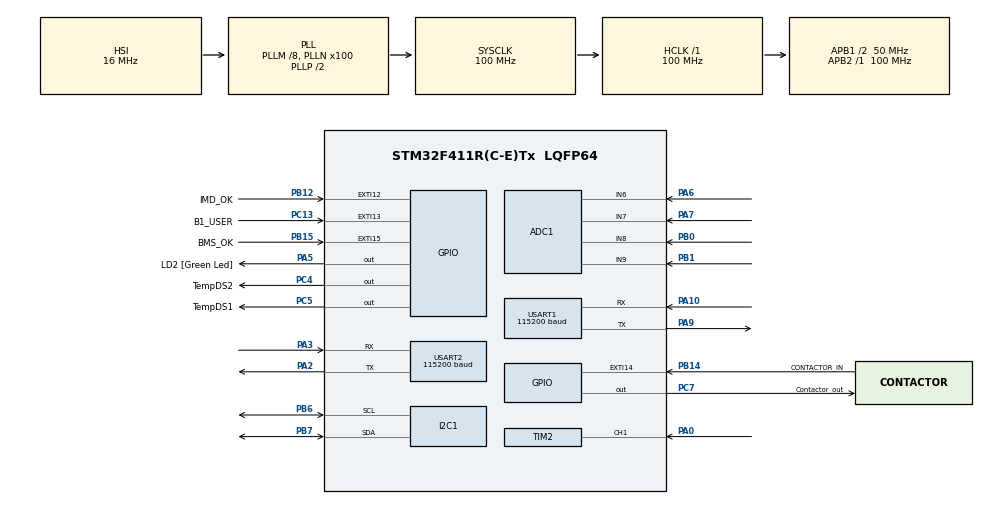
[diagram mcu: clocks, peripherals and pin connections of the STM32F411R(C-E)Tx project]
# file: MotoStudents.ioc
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ADC1.Channel-0\#ChannelRegularConversion=ADC_CHANNEL_6
ADC1.Channel-1\#ChannelRegularConversion=ADC_CHANNEL_7
ADC1.Channel-2\#ChannelRegularConversion=ADC_CHANNEL_8
ADC1.Channel-3\#ChannelRegularConversion=ADC_CHANNEL_9
ADC1.Channel-4\#ChannelRegularConversion=ADC_CHANNEL_TEMPSENSOR
ADC1.ContinuousConvMode=DISABLE
ADC1.DMAContinuousRequests=DISABLE
ADC1.DiscontinuousConvMode=DISABLE
ADC1.NbrOfConversion=5
ADC1.NbrOfConversionFlag=1
ADC1.Rank-0\#ChannelRegularConversion=1
ADC1.Rank-1\#ChannelRegularConversion=2
ADC1.Rank-2\#ChannelRegularConversion=3
ADC1.Rank-3\#ChannelRegularConversion=4
ADC1.Rank-4\#ChannelRegularConversion=5
ADC1.SamplingTime-0\#ChannelRegularConversion=ADC_SAMPLETIME_84CYCLES
ADC1.SamplingTime-1\#ChannelRegularConversion=ADC_SAMPLETIME_84CYCLES
ADC1.SamplingTime-2\#ChannelRegularConversion=ADC_SAMPLETIME_84CYCLES
ADC1.SamplingTime-3\#ChannelRegularConversion=ADC_SAMPLETIME_84CYCLES
ADC1.SamplingTime-4\#ChannelRegularConversion=ADC_SAMPLETIME_480CYCLES
ADC1.ScanConvMode=ENABLE
ADC1.master=1
Dma.ADC1.0.Direction=DMA_PERIPH_TO_MEMORY
Dma.ADC1.0.FIFOMode=DMA_FIFOMODE_DISABLE
Dma.ADC1.0.Instance=DMA2_Stream0
Dma.ADC1.0.MemDataAlignment=DMA_MDATAALIGN_HALFWORD
Dma.ADC1.0.MemInc=DMA_MINC_ENABLE
Dma.ADC1.0.Mode=DMA_NORMAL
Dma.ADC1.0.PeriphDataAlignment=DMA_PDATAALIGN_HALFWORD
Dma.ADC1.0.PeriphInc=DMA_PINC_DISABLE
Dma.ADC1.0.Priority=DMA_PRIORITY_LOW
Dma.Request0=ADC1
Dma.Request1=USART2_RX
Dma.Request2=USART1_RX
Dma.USART1_RX.2.Direction=DMA_PERIPH_TO_MEMORY
Dma.USART1_RX.2.FIFOMode=DMA_FIFOMODE_DISABLE
Dma.USART1_RX.2.Instance=DMA2_Stream2
Dma.USART1_RX.2.MemDataAlignment=DMA_MDATAALIGN_BYTE
Dma.USART1_RX.2.MemInc=DMA_MINC_ENABLE
Dma.USART1_RX.2.Mode=DMA_CIRCULAR
Dma.USART1_RX.2.PeriphDataAlignment=DMA_PDATAALIGN_BYTE
Dma.USART1_RX.2.PeriphInc=DMA_PINC_DISABLE
Dma.USART1_RX.2.Priority=DMA_PRIORITY_LOW
Dma.USART2_RX.1.Direction=DMA_PERIPH_TO_MEMORY
Dma.USART2_RX.1.FIFOMode=DMA_FIFOMODE_DISABLE
Dma.USART2_RX.1.Instance=DMA1_Stream5
Dma.USART2_RX.1.MemDataAlignment=DMA_MDATAALIGN_BYTE
Dma.USART2_RX.1.MemInc=DMA_MINC_ENABLE
Dma.USART2_RX.1.Mode=DMA_CIRCULAR
Dma.USART2_RX.1.PeriphDataAlignment=DMA_PDATAALIGN_BYTE
Dma.USART2_RX.1.PeriphInc=DMA_PINC_DISABLE
Dma.USART2_RX.1.Priority=DMA_PRIORITY_LOW
IWDG.Prescaler=IWDG_PRESCALER_8
IWDG.Reload=3999
Mcu.Family=STM32F4
Mcu.Name=STM32F411R(C-E)Tx
Mcu.Package=LQFP64
NVIC.DMA1_Stream5_IRQn=true\:0\:0\:false\:false\:true\:false\:true
NVIC.DMA2_Stream0_IRQn=true\:0\:0\:false\:false\:true\:false\:true
NVIC.DMA2_Stream2_IRQn=true\:0\:0\:false\:false\:true\:false\:true
NVIC.EXTI15_10_IRQn=true\:1\:0\:true\:false\:true\:true\:true
NVIC.PriorityGroup=NVIC_PRIORITYGROUP_2
NVIC.TIM1_TRG_COM_TIM11_IRQn=true\:3\:0\:true\:false\:true\:true\:true
NVIC.TIM2_IRQn=true\:2\:3\:true\:false\:true\:true\:true
NVIC.USART1_IRQn=true\:2\:0\:true\:false\:true\:true\:true
NVIC.USART2_IRQn=true\:2\:0\:true\:false\:true\:true\:true
PA0-WKUP.Signal=S_TIM2_CH1_ETR
PA10.Mode=Asynchronous
PA10.Signal=USART1_RX
PA13.GPIO_Label=TMS
PA13.Mode=Serial_Wire
PA13.Signal=SYS_JTMS-SWDIO
PA14.GPIO_Label=TCK
PA14.Mode=Serial_Wire
PA14.Signal=SYS_JTCK-SWCLK
PA2.Mode=Asynchronous
PA2.Signal=USART2_TX
PA3.Mode=Asynchronous
PA3.Signal=USART2_RX
PA5.GPIO_Label=LD2 [Green Led]
PA5.Signal=GPIO_Output
PA6.Signal=ADCx_IN6
PA7.Signal=ADCx_IN7
PA9.Mode=Asynchronous
PA9.Signal=USART1_TX
PB0.Signal=ADCx_IN8
PB1.Signal=ADCx_IN9
PB12.GPIO_Label=IMD_OK
PB12.GPIO_ModeDefaultEXTI=GPIO_MODE_IT_RISING_FALLING
PB12.GPIO_PuPd=GPIO_PULLDOWN
PB12.Signal=GPXTI12
PB14.GPIO_Label=CONTACTOR_IN
PB14.GPIO_ModeDefaultEXTI=GPIO_MODE_IT_RISING_FALLING
PB14.GPIO_PuPd=GPIO_PULLDOWN
PB14.Signal=GPXTI14
PB15.GPIO_Label=BMS_OK
PB15.GPIO_ModeDefaultEXTI=GPIO_MODE_IT_RISING_FALLING
PB15.GPIO_PuPd=GPIO_PULLDOWN
PB15.Signal=GPXTI15
PB3.GPIO_Label=SWO
PB3.Signal=SYS_JTDO-SWO
PB6.Mode=I2C
PB6.Signal=I2C1_SCL
PB7.Mode=I2C
PB7.Signal=I2C1_SDA
PC13-ANTI_TAMP.GPIO_Label=B1_USER
PC13-ANTI_TAMP.Signal=GPXTI13
PC14-OSC32_IN.Mode=LSE-External-Oscillator
PC14-OSC32_IN.Signal=RCC_OSC32_IN
PC15-OSC32_OUT.Mode=LSE-External-Oscillator
PC15-OSC32_OUT.Signal=RCC_OSC32_OUT
PC4.GPIO_Label=TempDS2
PC4.GPIO_ModeDefaultOutputPP=GPIO_MODE_OUTPUT_OD
PC4.GPIO_PuPd=GPIO_PULLUP
PC4.GPIO_Speed=GPIO_SPEED_FREQ_HIGH
PC4.Signal=GPIO_Output
PC5.GPIO_Label=TempDS1
PC5.GPIO_ModeDefaultOutputPP=GPIO_MODE_OUTPUT_OD
PC5.GPIO_PuPd=GPIO_PULLUP
PC5.GPIO_Speed=GPIO_SPEED_FREQ_VERY_HIGH
PC5.Signal=GPIO_Output
PC7.GPIO_Label=Contactor_out
PC7.GPIO_PuPd=GPIO_PULLDOWN
PC7.Signal=GPIO_Output
PH0\ -\ OSC_IN.Mode=HSE-External-Clock-Source
PH0\ -\ OSC_IN.Signal=RCC_OSC_IN
PH1\ -\ OSC_OUT.Mode=HSE-External-Clock-Source
PH1\ -\ OSC_OUT.Signal=RCC_OSC_OUT
ProjectManager.HeapSize=0x200
ProjectManager.StackSize=0x400
ProjectManager.TargetToolchain=STM32CubeIDE
RCC.48MHZClocksFreq_Value=50000000
RCC.AHBFreq_Value=100000000
RCC.APB1CLKDivider=RCC_HCLK_DIV2
RCC.APB1Freq_Value=50000000
RCC.APB1TimFreq_Value=100000000
RCC.APB2Freq_Value=100000000
RCC.APB2TimFreq_Value=100000000
RCC.CortexFreq_Value=100000000
RCC.FLatency-AdvancedSettings=FLASH_LATENCY_3
RCC.HCLKFreq_Value=100000000
RCC.HSE_VALUE=8000000
RCC.HSI_VALUE=16000000
RCC.PLLM=8
RCC.PLLN=100
RCC.RCC_RTC_Clock_Source=RCC_RTCCLKSOURCE_LSI
RCC.RCC_RTC_Clock_SourceVirtual=RCC_RTCCLKSOURCE_LSI
RCC.SYSCLKFreq_VALUE=100000000
RCC.SYSCLKSource=RCC_SYSCLKSOURCE_PLLCLK
RCC.VCOOutputFreq_Value=200000000
SH.ADCx_IN6.0=ADC1_IN6,IN6
SH.ADCx_IN7.0=ADC1_IN7,IN7
SH.ADCx_IN8.0=ADC1_IN8,IN8
SH.ADCx_IN9.0=ADC1_IN9,IN9
SH.S_TIM2_CH1_ETR.0=TIM2_CH1,PWM_Input_1
TIM10.Period=65535-1
TIM10.Prescaler=1-1
TIM11.Period=300-1
TIM11.Prescaler=10000-1
TIM2.Prescaler=0
TIM9.Prescaler=50000-1
USART1.BaudRate=115200
USART1.VirtualMode=VM_ASYNC
USART2.BaudRate=115200
USART2.VirtualMode=VM_ASYNC
VP_ADC1_TempSens_Input.Mode=IN-TempSens
VP_IWDG_VS_IWDG.Mode=IWDG_Activate
VP_TIM10_VS_ClockSourceINT.Mode=Enable_Timer
VP_TIM11_VS_ClockSourceINT.Mode=Enable_Timer
VP_TIM2_VS_ClockSourceINT.Mode=Internal
VP_TIM9_VS_ClockSourceINT.Mode=Internal
board=NUCLEO-F411RE

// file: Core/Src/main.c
/* USER CODE BEGIN Header */
/**
  ******************************************************************************
  * @file           : main.c
  * @brief          : Main program body
  ******************************************************************************
  * @attention
  *
  * <h2><center>&copy; Copyright (c) 2021 STMicroelectronics.
  * All rights reserved.</center></h2>
  *
  * This software component is licensed by ST under BSD 3-Clause license,
  * the "License"; You may not use this file except in compliance with the
  * License. You may obtain a copy of the License at:
  *                        opensource.org/licenses/BSD-3-Clause
  *
  ******************************************************************************
  */

/*
 * **********************************************************************************
 *
 *  Created on: 	00.00.0000
 *  Author: 		Rubén Torres Bermúdez <rubentorresbermudez@gmail.com>
 *  Organism:		Sevilla Racing. Universidad de Sevilla.
 *
 *	Description:
 *		This C source file provides the Sevilla Racing STM32F4x project to be included
 *		into a electric racing bike for MotoStudent International Competition.
 *		Sevilla Racing is representing the motorcycle team of Universidad de Sevilla.
 *
 *		MPU6050 library's credits belongs to its respective owner.
 *
 *		Copyright (C) 2022 Rubén Torres Bermúdez
 *
 * **********************************************************************************
 */

/* USER CODE END Header */
#include "main.h"

/* USER CODE BEGIN Includes */
#include "string.h"
#include "stdio.h"
#include "math.h"
#include "RT_ds18b20.h"
#include "mpu6050.h"

/* USER CODE END Includes */

/* USER CODE BEGIN PD */

//++++++++++++++++++++++++++++ ANALOG TO DIGITAL CONVERTER ++++++++++++++++++++++++++++
#define Avg_Slope .0025
#define V25 0.76

/* USER CODE END PD */

ADC_HandleTypeDef hadc1;
DMA_HandleTypeDef hdma_adc1;

I2C_HandleTypeDef hi2c1;

IWDG_HandleTypeDef hiwdg;

TIM_HandleTypeDef htim2;
TIM_HandleTypeDef htim9;
TIM_HandleTypeDef htim10;
TIM_HandleTypeDef htim11;

UART_HandleTypeDef huart1;
UART_HandleTypeDef huart2;
DMA_HandleTypeDef hdma_usart1_rx;
DMA_HandleTypeDef hdma_usart2_rx;

/* USER CODE BEGIN PV */

//++++++++++++++++++++++++++++ MPU6050 ++++++++++++++++++++++++++++
MPU6050_t MPU6050; //Structure type MPU6050_t name MPU6050

//++++++++++++++++++++++++++++ DS18B20 ++++++++++++++++++++++++++++
volatile uint8_t pin_1wire = 0;
typedef struct
{
	float Pack1;
	float Pack2;
	float Pack3;
	float Pack4;
}DS18B20_t;
DS18B20_t Temp;
uint8_t dir1[] = {0x28,0xB4,0x0C,0x94,0x97,0x0C,0x03,0xF6};

//++++++++++++++++++++++++++++ ANALOG TO DIGITAL CONVERTER ++++++++++++++++++++++++++++
typedef struct
{
	uint32_t Channel1;
	uint32_t Channel2;
	uint32_t Channel3;
	uint32_t Channel4;
	float Temp_uC;
} ADC_value_t;
ADC_value_t ADC1_value;

//++++++++++++++++++++++++++++ PWM MEASURE ++++++++++++++++++++++++++++
typedef struct
{
	uint32_t preICValue;
	uint32_t ICValue;
	uint32_t Frequency;
	float Duty;
	float Rf;
} PWM_measure_t;
PWM_measure_t IMD;

//++++++++++++++++++++++++++++ OTHERS VAR ++++++++++++++++++++++++++++
uint8_t flag_TIM11 = 0;
uint8_t dataRx [8] = {0};
uint8_t flag_app = 0;
typedef struct
{
	uint8_t DS18B20;
	uint8_t MPU6050;
	uint8_t IMD;
	uint8_t BMS;
	uint8_t Contactor;
} flag_Errors_t;
flag_Errors_t flag_error;

/* USER CODE END PV */

void SystemClock_Config(void);
static void MX_GPIO_Init(void);
static void MX_I2C1_Init(void);
static void MX_IWDG_Init(void);
static void MX_ADC1_Init(void);
static void MX_TIM11_Init(void);
static void MX_DMA_Init(void);
static void MX_USART2_UART_Init(void);
static void MX_TIM10_Init(void);
static void MX_TIM2_Init(void);
static void MX_USART1_UART_Init(void);
static void MX_TIM9_Init(void);
/* USER CODE BEGIN PFP */

void delayMicro (uint32_t delay);
uint64_t millis(void);
void read_AllTemp (void);
void read_ADC1 (void);
uint8_t info_user_transmit (void);
uint8_t info_app_transmit (void);
void reset_flags ();

/* USER CODE END PFP */

/* USER CODE BEGIN 0 */

//################################## MPU6050 ##################################

//################################## DELAY MICROSECONDS ##################################
/**
 * @brief	Delay us.
 * @param 	Delay in microseconds.
 * @return  None.
 * @note 	Sólo cuenta hasta 65535/f microsegundos. Siendo f la frecuencia en MHz.
 * 		 	Asegurarse de inicializar  HAL_TIM_Base_Start(&htim).
 * 		 	Modificar la frecuencia del timer en MHz (pasado por prescaler).
 */
void delayMicro (uint32_t delay)
{
#define RT_FREQUENCY_delayMicro 100
	__HAL_TIM_SET_COUNTER(&htim10, 0);
	while (__HAL_TIM_GET_COUNTER(&htim10)<(delay*RT_FREQUENCY_delayMicro));
}

//################################## MILLIS FUNCTION ##################################
/**
  * @brief	millis().
  * @param 	None.
  * @return Time elapse since timer init or set counter.
  * @note 	Sólo cuenta hasta 65535/f microsegundos. Siendo f la frecuencia en MHz.
  * 		 	Asegurarse de inicializar  HAL_TIM_Base_Start(&htim).
  * 		 	Modificar la frecuencia del timer en KHz (pasado por prescaler).
  */
uint64_t millis(void)
{
#define RT_FREQUENCY_millis 2
    return (__HAL_TIM_GET_COUNTER(&htim9)/RT_FREQUENCY_millis);
}

//################################## DS18B20 ##################################
/**
  * @brief	Read all values of DS18B20 sensor temperature.
  * @param 	None
  * @return None.
  */
void read_AllTemp (void)
{
	if (!DS18B20_All_Convert(TempDS1_GPIO_Port, TempDS1_Pin))
	{
		Temp.Pack1 = DS18B20_Read_Temp(TempDS1_GPIO_Port, TempDS1_Pin, dir1);
	//	Temp.Pack3 = DS18B20_Read_Temp(TempDS1_GPIO_Port, TempDS1_Pin, dir1);
	//	Temp.Pack2 = DS18B20_Read_Temp(TempDS1_GPIO_Port, TempDS1_Pin, dir1);
	//	Temp.Pack4 = DS18B20_Read_Temp(TempDS1_GPIO_Port, TempDS1_Pin, dir1);
		if ((Temp.Pack1 == -250.0) | (Temp.Pack2 == -250.0) | (Temp.Pack3 == -250.0) | (Temp.Pack4 == -250.0))
		{
			flag_error.DS18B20 = 1;
		}

	}
		else	flag_error.DS18B20 = 1;
}

//################################## ANALOG TO DIGITAL CONVERTER ##################################
/**
  * @brief	Read all values of ADC1.
  * @param 	None
  * @return None.
  */
void read_ADC1 (void)
{
	HAL_ADC_Start(&hadc1);// start the ADC

	HAL_ADC_PollForConversion(&hadc1, 1);
	ADC1_value.Channel1 = HAL_ADC_GetValue(&hadc1);
	HAL_ADC_PollForConversion(&hadc1, 1);
	ADC1_value.Channel2 = HAL_ADC_GetValue(&hadc1);
	HAL_ADC_PollForConversion(&hadc1, 1);
	ADC1_value.Channel3 = HAL_ADC_GetValue(&hadc1);
	HAL_ADC_PollForConversion(&hadc1, 1);
	ADC1_value.Channel4 = HAL_ADC_GetValue(&hadc1);
	HAL_ADC_PollForConversion(&hadc1, 1);
	ADC1_value.Temp_uC = ((3.3*HAL_ADC_GetValue(&hadc1)/4095 - V25)/Avg_Slope)+25;

	HAL_ADC_Stop(&hadc1); // stop the adc
}

//################################## SEND INFO UART2 ##################################
/**
  * @brief	Sends info to UART.
  * @param 	None.
  * @return Return 1 when transmission is completed.
  */
uint8_t info_user_transmit (void)
{
	char buffer[400] = {0};
	sprintf
	(
			buffer,
			"#########   INICIO ENVIO DE DATOS   #########\r\n\nIMD: \r\n- Frecuencia: %lu\r\n- Duty: %.1f\r\n\nGiroscopio: \r\nAx\tAy\tAz\tGx\tGy\tGz\r\n%.2f\t%.2f\t%.2f\t%.2f\t%.2f\r\n\nTemperaturas: \r\n- Temp. Pack1: %.1f\r\n- Temp. Pack2: %.1f\r\n\nValores ADC: \r\n- Canal 1: %lu\r\n- Canal 2: %lu\r\n- Canal 3: %lu\r\n- Canal 4: %lu\r\n- Temp. uC: %.1f\r\n\n#########   FIN ENVIO DE DATOS   #########\r\n\n\n",
			IMD.Frequency, IMD.Duty, MPU6050.Ax, MPU6050.Ay, MPU6050.Az, MPU6050.KalmanAngleX,
			MPU6050.KalmanAngleY, Temp.Pack1, Temp.Pack2, ADC1_value.Channel1, ADC1_value.Channel2, ADC1_value.Channel3,
			ADC1_value.Channel4, ADC1_value.Temp_uC
	);

	HAL_UART_Transmit(&huart2, buffer, strlen(buffer), 10);
	return 1;
}

/**
  * @brief	Sends info to app via UART.
  * @param 	None.
  * @return Return 1 when transmission is completed.
  */
uint8_t info_app_transmit (void)
{
	char buffer[100] = {0};
	sprintf
	(
			buffer,
			"+++++\r\n%lu\r\n%.1f\r\n%.2f\r\n%.2f\r\n%.2f\r\n%.2f\r\n%.2f\r\n%.1f\r\n%.1f\r\n%lu\r\n%lu\r\n%lu\r\n%lu\r\n%.1f\r\n*****\r\n",
			IMD.Frequency, IMD.Duty, MPU6050.Ax, MPU6050.Ay, MPU6050.Az, MPU6050.KalmanAngleX,
			MPU6050.KalmanAngleY, Temp.Pack1, Temp.Pack2, ADC1_value.Channel1, ADC1_value.Channel2, ADC1_value.Channel3,
			ADC1_value.Channel4, ADC1_value.Temp_uC
	);

	HAL_UART_Transmit(&huart2, buffer, strlen(buffer), 10);
	return 1;
}

/**
  * @brief	Restart stored flag errors.
  * @param	None.
  * @return None.
  */
void reset_flags ()
{
	flag_error = (flag_Errors_t){0};
}

/* USER CODE END 0 */

int main(void)
{

  /* MCU Configuration--------------------------------------------------------*/

  /* Reset of all peripherals, Initializes the Flash interface and the Systick. */
  HAL_Init();

  /* Configure the system clock */
  SystemClock_Config();

  /* Initialize all configured peripherals */
  MX_GPIO_Init();
  MX_I2C1_Init();
  MX_IWDG_Init();
  MX_ADC1_Init();
  MX_TIM11_Init();
  MX_DMA_Init();
  MX_USART2_UART_Init();
  MX_TIM10_Init();
  MX_TIM2_Init();
  MX_USART1_UART_Init();
  MX_TIM9_Init();
  /* USER CODE BEGIN 2 */

  //################################## INITIAL CHECKS ##################################

    HAL_Delay(500);
    HAL_IWDG_Refresh(&hiwdg);
    HAL_Delay(500);
    HAL_IWDG_Refresh(&hiwdg);
    HAL_Delay(500);
    HAL_IWDG_Refresh(&hiwdg);
    HAL_Delay(500);
    HAL_IWDG_Refresh(&hiwdg);
    HAL_Delay(500);
    HAL_IWDG_Refresh(&hiwdg);

    if (HAL_GPIO_ReadPin(IMD_OK_GPIO_Port, IMD_OK_Pin) == GPIO_PIN_RESET)
    {
  	  HAL_GPIO_WritePin(Contactor_out_GPIO_Port, Contactor_out_Pin, GPIO_PIN_RESET);
  	  flag_error.IMD = 1;
    }

    if (HAL_GPIO_ReadPin(BMS_OK_GPIO_Port, BMS_OK_Pin) == GPIO_PIN_RESET)
    {
  	  flag_error.BMS = 1;
    }

    if (HAL_GPIO_ReadPin(CONTACTOR_IN_GPIO_Port, CONTACTOR_IN_Pin) == GPIO_PIN_RESET)
    {
  	  flag_error.Contactor = 1;
    }

    //################################## SETUP PERIPHERIALS ##################################

  for (uint8_t a = 1; a<5; a++)
  {
	  HAL_GPIO_TogglePin(LD2_GPIO_Port, LD2_Pin);
	  HAL_Delay(300);
	  HAL_IWDG_Refresh(&hiwdg);
  }

  HAL_IWDG_Refresh(&hiwdg);

  HAL_TIM_Base_Start (&htim10);		//delayMicro ()

  HAL_TIM_Base_Start (&htim9);			//millis()

  	  if (!MPU6050_Init (&hi2c1))			//MPU6050 Incialización
  		  HAL_UART_Transmit(&huart2, (uint8_t *) "MPU6050 inicializada\r\n", strlen ("MPU6050 inicializada\r\n"), 1);
  	  else
  	  {
  		  HAL_UART_Transmit(&huart2, (uint8_t *) "MPU6050 fallo\r\n", strlen ("MPU6050 fallo\r\n"), 1);
  		  flag_error.MPU6050 = 1;
  	  }

  HAL_TIM_IC_Start_IT(&htim2, TIM_CHANNEL_1);	//Medidor de PWM
  HAL_TIM_IC_Start(&htim2, TIM_CHANNEL_2);

  HAL_UART_Receive_DMA(&huart2, dataRx, 1);		//Recepción de comandos
  HAL_UART_Receive_DMA(&huart1, dataRx, 1);		//Orden App

  HAL_UART_Transmit(&huart2, (uint8_t *) "#########   INICIALIZADO   #########\r\n\n\n", strlen ((char *) "#########   INICIALIZADO   #########\r\n\n\n"), 3);
  HAL_TIM_Base_Start_IT(&htim11);		//Interrupciones Internas
  HAL_GPIO_WritePin(LD2_GPIO_Port, LD2_Pin, 1);

  /* USER CODE END 2 */

  /* Infinite loop */
  /* USER CODE BEGIN WHILE */

  while (1)
  {
	  HAL_GPIO_TogglePin(LD2_GPIO_Port, LD2_Pin);
	  for (uint16_t i = 0; i < 500; i++)	//Delay con micros
		  delayMicro (100);	//Delay 100us

    /* USER CODE END WHILE */

  }
}

void SystemClock_Config(void)
{
  RCC_OscInitTypeDef RCC_OscInitStruct = {0};
  RCC_ClkInitTypeDef RCC_ClkInitStruct = {0};

  /** Configure the main internal regulator output voltage
  */
  __HAL_RCC_PWR_CLK_ENABLE();
  __HAL_PWR_VOLTAGESCALING_CONFIG(PWR_REGULATOR_VOLTAGE_SCALE1);
  /** Initializes the RCC Oscillators according to the specified parameters
  * in the RCC_OscInitTypeDef structure.
  */
  RCC_OscInitStruct.OscillatorType = RCC_OSCILLATORTYPE_HSI|RCC_OSCILLATORTYPE_LSI;
  RCC_OscInitStruct.HSIState = RCC_HSI_ON;
  RCC_OscInitStruct.HSICalibrationValue = RCC_HSICALIBRATION_DEFAULT;
  RCC_OscInitStruct.LSIState = RCC_LSI_ON;
  RCC_OscInitStruct.PLL.PLLState = RCC_PLL_ON;
  RCC_OscInitStruct.PLL.PLLSource = RCC_PLLSOURCE_HSI;
  RCC_OscInitStruct.PLL.PLLM = 8;
  RCC_OscInitStruct.PLL.PLLN = 100;
  RCC_OscInitStruct.PLL.PLLP = RCC_PLLP_DIV2;
  RCC_OscInitStruct.PLL.PLLQ = 4;
  if (HAL_RCC_OscConfig(&RCC_OscInitStruct) != HAL_OK)
  {
    Error_Handler();
  }
  /** Initializes the CPU, AHB and APB buses clocks
  */
  RCC_ClkInitStruct.ClockType = RCC_CLOCKTYPE_HCLK|RCC_CLOCKTYPE_SYSCLK
                              |RCC_CLOCKTYPE_PCLK1|RCC_CLOCKTYPE_PCLK2;
  RCC_ClkInitStruct.SYSCLKSource = RCC_SYSCLKSOURCE_PLLCLK;
  RCC_ClkInitStruct.AHBCLKDivider = RCC_SYSCLK_DIV1;
  RCC_ClkInitStruct.APB1CLKDivider = RCC_HCLK_DIV2;
  RCC_ClkInitStruct.APB2CLKDivider = RCC_HCLK_DIV1;

  if (HAL_RCC_ClockConfig(&RCC_ClkInitStruct, FLASH_LATENCY_3) != HAL_OK)
  {
    Error_Handler();
  }
}

static void MX_ADC1_Init(void)
{

  ADC_ChannelConfTypeDef sConfig = {0};

  /** Configure the global features of the ADC (Clock, Resolution, Data Alignment and number of conversion)
  */
  hadc1.Instance = ADC1;
  hadc1.Init.ClockPrescaler = ADC_CLOCK_SYNC_PCLK_DIV4;
  hadc1.Init.Resolution = ADC_RESOLUTION_12B;
  hadc1.Init.ScanConvMode = ENABLE;
  hadc1.Init.ContinuousConvMode = DISABLE;
  hadc1.Init.DiscontinuousConvMode = DISABLE;
  hadc1.Init.ExternalTrigConvEdge = ADC_EXTERNALTRIGCONVEDGE_NONE;
  hadc1.Init.ExternalTrigConv = ADC_SOFTWARE_START;
  hadc1.Init.DataAlign = ADC_DATAALIGN_RIGHT;
  hadc1.Init.NbrOfConversion = 5;
  hadc1.Init.DMAContinuousRequests = DISABLE;
  hadc1.Init.EOCSelection = ADC_EOC_SINGLE_CONV;
  if (HAL_ADC_Init(&hadc1) != HAL_OK)
  {
    Error_Handler();
  }
  /** Configure for the selected ADC regular channel its corresponding rank in the sequencer and its sample time.
  */
  sConfig.Channel = ADC_CHANNEL_6;
  sConfig.Rank = 1;
  sConfig.SamplingTime = ADC_SAMPLETIME_84CYCLES;
  if (HAL_ADC_ConfigChannel(&hadc1, &sConfig) != HAL_OK)
  {
    Error_Handler();
  }
  /** Configure for the selected ADC regular channel its corresponding rank in the sequencer and its sample time.
  */
  sConfig.Channel = ADC_CHANNEL_7;
  sConfig.Rank = 2;
  if (HAL_ADC_ConfigChannel(&hadc1, &sConfig) != HAL_OK)
  {
    Error_Handler();
  }
  /** Configure for the selected ADC regular channel its corresponding rank in the sequencer and its sample time.
  */
  sConfig.Channel = ADC_CHANNEL_8;
  sConfig.Rank = 3;
  if (HAL_ADC_ConfigChannel(&hadc1, &sConfig) != HAL_OK)
  {
    Error_Handler();
  }
  /** Configure for the selected ADC regular channel its corresponding rank in the sequencer and its sample time.
  */
  sConfig.Channel = ADC_CHANNEL_9;
  sConfig.Rank = 4;
  if (HAL_ADC_ConfigChannel(&hadc1, &sConfig) != HAL_OK)
  {
    Error_Handler();
  }
  /** Configure for the selected ADC regular channel its corresponding rank in the sequencer and its sample time.
  */
  sConfig.Channel = ADC_CHANNEL_TEMPSENSOR;
  sConfig.Rank = 5;
  sConfig.SamplingTime = ADC_SAMPLETIME_480CYCLES;
  if (HAL_ADC_ConfigChannel(&hadc1, &sConfig) != HAL_OK)
  {
    Error_Handler();
  }

}

static void MX_I2C1_Init(void)
{

  hi2c1.Instance = I2C1;
  hi2c1.Init.ClockSpeed = 100000;
  hi2c1.Init.DutyCycle = I2C_DUTYCYCLE_2;
  hi2c1.Init.OwnAddress1 = 0;
  hi2c1.Init.AddressingMode = I2C_ADDRESSINGMODE_7BIT;
  hi2c1.Init.DualAddressMode = I2C_DUALADDRESS_DISABLE;
  hi2c1.Init.OwnAddress2 = 0;
  hi2c1.Init.GeneralCallMode = I2C_GENERALCALL_DISABLE;
  hi2c1.Init.NoStretchMode = I2C_NOSTRETCH_DISABLE;
  if (HAL_I2C_Init(&hi2c1) != HAL_OK)
  {
    Error_Handler();
  }

}

static void MX_IWDG_Init(void)
{

  hiwdg.Instance = IWDG;
  hiwdg.Init.Prescaler = IWDG_PRESCALER_8;
  hiwdg.Init.Reload = 3999;
  if (HAL_IWDG_Init(&hiwdg) != HAL_OK)
  {
    Error_Handler();
  }

}

static void MX_TIM2_Init(void)
{

  TIM_ClockConfigTypeDef sClockSourceConfig = {0};
  TIM_SlaveConfigTypeDef sSlaveConfig = {0};
  TIM_IC_InitTypeDef sConfigIC = {0};
  TIM_MasterConfigTypeDef sMasterConfig = {0};

  htim2.Instance = TIM2;
  htim2.Init.Prescaler = 0;
  htim2.Init.CounterMode = TIM_COUNTERMODE_UP;
  htim2.Init.Period = 4294967295;
  htim2.Init.ClockDivision = TIM_CLOCKDIVISION_DIV1;
  htim2.Init.AutoReloadPreload = TIM_AUTORELOAD_PRELOAD_DISABLE;
  if (HAL_TIM_Base_Init(&htim2) != HAL_OK)
  {
    Error_Handler();
  }
  sClockSourceConfig.ClockSource = TIM_CLOCKSOURCE_INTERNAL;
  if (HAL_TIM_ConfigClockSource(&htim2, &sClockSourceConfig) != HAL_OK)
  {
    Error_Handler();
  }
  if (HAL_TIM_IC_Init(&htim2) != HAL_OK)
  {
    Error_Handler();
  }
  sSlaveConfig.SlaveMode = TIM_SLAVEMODE_RESET;
  sSlaveConfig.InputTrigger = TIM_TS_TI1FP1;
  sSlaveConfig.TriggerPolarity = TIM_INPUTCHANNELPOLARITY_RISING;
  sSlaveConfig.TriggerPrescaler = TIM_ICPSC_DIV1;
  sSlaveConfig.TriggerFilter = 0;
  if (HAL_TIM_SlaveConfigSynchro(&htim2, &sSlaveConfig) != HAL_OK)
  {
    Error_Handler();
  }
  sConfigIC.ICPolarity = TIM_INPUTCHANNELPOLARITY_RISING;
  sConfigIC.ICSelection = TIM_ICSELECTION_DIRECTTI;
  sConfigIC.ICPrescaler = TIM_ICPSC_DIV1;
  sConfigIC.ICFilter = 0;
  if (HAL_TIM_IC_ConfigChannel(&htim2, &sConfigIC, TIM_CHANNEL_1) != HAL_OK)
  {
    Error_Handler();
  }
  sConfigIC.ICPolarity = TIM_INPUTCHANNELPOLARITY_FALLING;
  sConfigIC.ICSelection = TIM_ICSELECTION_INDIRECTTI;
  if (HAL_TIM_IC_ConfigChannel(&htim2, &sConfigIC, TIM_CHANNEL_2) != HAL_OK)
  {
    Error_Handler();
  }
  sMasterConfig.MasterOutputTrigger = TIM_TRGO_RESET;
  sMasterConfig.MasterSlaveMode = TIM_MASTERSLAVEMODE_DISABLE;
  if (HAL_TIMEx_MasterConfigSynchronization(&htim2, &sMasterConfig) != HAL_OK)
  {
    Error_Handler();
  }

}

static void MX_TIM9_Init(void)
{

  TIM_ClockConfigTypeDef sClockSourceConfig = {0};

  htim9.Instance = TIM9;
  htim9.Init.Prescaler = 50000-1;
  htim9.Init.CounterMode = TIM_COUNTERMODE_UP;
  htim9.Init.Period = 65535;
  htim9.Init.ClockDivision = TIM_CLOCKDIVISION_DIV1;
  htim9.Init.AutoReloadPreload = TIM_AUTORELOAD_PRELOAD_DISABLE;
  if (HAL_TIM_Base_Init(&htim9) != HAL_OK)
  {
    Error_Handler();
  }
  sClockSourceConfig.ClockSource = TIM_CLOCKSOURCE_INTERNAL;
  if (HAL_TIM_ConfigClockSource(&htim9, &sClockSourceConfig) != HAL_OK)
  {
    Error_Handler();
  }

}

static void MX_TIM10_Init(void)
{

  htim10.Instance = TIM10;
  htim10.Init.Prescaler = 1-1;
  htim10.Init.CounterMode = TIM_COUNTERMODE_UP;
  htim10.Init.Period = 65535-1;
  htim10.Init.ClockDivision = TIM_CLOCKDIVISION_DIV1;
  htim10.Init.AutoReloadPreload = TIM_AUTORELOAD_PRELOAD_DISABLE;
  if (HAL_TIM_Base_Init(&htim10) != HAL_OK)
  {
    Error_Handler();
  }

}

static void MX_TIM11_Init(void)
{

  htim11.Instance = TIM11;
  htim11.Init.Prescaler = 10000-1;
  htim11.Init.CounterMode = TIM_COUNTERMODE_UP;
  htim11.Init.Period = 300-1;
  htim11.Init.ClockDivision = TIM_CLOCKDIVISION_DIV1;
  htim11.Init.AutoReloadPreload = TIM_AUTORELOAD_PRELOAD_DISABLE;
  if (HAL_TIM_Base_Init(&htim11) != HAL_OK)
  {
    Error_Handler();
  }

}

static void MX_USART1_UART_Init(void)
{

  huart1.Instance = USART1;
  huart1.Init.BaudRate = 115200;
  huart1.Init.WordLength = UART_WORDLENGTH_8B;
  huart1.Init.StopBits = UART_STOPBITS_1;
  huart1.Init.Parity = UART_PARITY_NONE;
  huart1.Init.Mode = UART_MODE_TX_RX;
  huart1.Init.HwFlowCtl = UART_HWCONTROL_NONE;
  huart1.Init.OverSampling = UART_OVERSAMPLING_16;
  if (HAL_UART_Init(&huart1) != HAL_OK)
  {
    Error_Handler();
  }

}

static void MX_USART2_UART_Init(void)
{

  huart2.Instance = USART2;
  huart2.Init.BaudRate = 115200;
  huart2.Init.WordLength = UART_WORDLENGTH_8B;
  huart2.Init.StopBits = UART_STOPBITS_1;
  huart2.Init.Parity = UART_PARITY_NONE;
  huart2.Init.Mode = UART_MODE_TX_RX;
  huart2.Init.HwFlowCtl = UART_HWCONTROL_NONE;
  huart2.Init.OverSampling = UART_OVERSAMPLING_16;
  if (HAL_UART_Init(&huart2) != HAL_OK)
  {
    Error_Handler();
  }

}

static void MX_DMA_Init(void)
{

  /* DMA controller clock enable */
  __HAL_RCC_DMA2_CLK_ENABLE();
  __HAL_RCC_DMA1_CLK_ENABLE();

  /* DMA interrupt init */
  /* DMA1_Stream5_IRQn interrupt configuration */
  HAL_NVIC_SetPriority(DMA1_Stream5_IRQn, 0, 0);
  HAL_NVIC_EnableIRQ(DMA1_Stream5_IRQn);
  /* DMA2_Stream0_IRQn interrupt configuration */
  HAL_NVIC_SetPriority(DMA2_Stream0_IRQn, 0, 0);
  HAL_NVIC_EnableIRQ(DMA2_Stream0_IRQn);
  /* DMA2_Stream2_IRQn interrupt configuration */
  HAL_NVIC_SetPriority(DMA2_Stream2_IRQn, 0, 0);
  HAL_NVIC_EnableIRQ(DMA2_Stream2_IRQn);

}

static void MX_GPIO_Init(void)
{
  GPIO_InitTypeDef GPIO_InitStruct = {0};

  /* GPIO Ports Clock Enable */
  __HAL_RCC_GPIOC_CLK_ENABLE();
  __HAL_RCC_GPIOH_CLK_ENABLE();
  __HAL_RCC_GPIOA_CLK_ENABLE();
  __HAL_RCC_GPIOB_CLK_ENABLE();

  /*Configure GPIO pin Output Level */
  HAL_GPIO_WritePin(LD2_GPIO_Port, LD2_Pin, GPIO_PIN_RESET);

  /*Configure GPIO pin Output Level */
  HAL_GPIO_WritePin(GPIOC, TempDS2_Pin|TempDS1_Pin|Contactor_out_Pin, GPIO_PIN_RESET);

  /*Configure GPIO pin : B1_USER_Pin */
  GPIO_InitStruct.Pin = B1_USER_Pin;
  GPIO_InitStruct.Mode = GPIO_MODE_IT_RISING;
  GPIO_InitStruct.Pull = GPIO_NOPULL;
  HAL_GPIO_Init(B1_USER_GPIO_Port, &GPIO_InitStruct);

  /*Configure GPIO pin : LD2_Pin */
  GPIO_InitStruct.Pin = LD2_Pin;
  GPIO_InitStruct.Mode = GPIO_MODE_OUTPUT_PP;
  GPIO_InitStruct.Pull = GPIO_NOPULL;
  GPIO_InitStruct.Speed = GPIO_SPEED_FREQ_LOW;
  HAL_GPIO_Init(LD2_GPIO_Port, &GPIO_InitStruct);

  /*Configure GPIO pin : TempDS2_Pin */
  GPIO_InitStruct.Pin = TempDS2_Pin;
  GPIO_InitStruct.Mode = GPIO_MODE_OUTPUT_OD;
  GPIO_InitStruct.Pull = GPIO_PULLUP;
  GPIO_InitStruct.Speed = GPIO_SPEED_FREQ_HIGH;
  HAL_GPIO_Init(TempDS2_GPIO_Port, &GPIO_InitStruct);

  /*Configure GPIO pin : TempDS1_Pin */
  GPIO_InitStruct.Pin = TempDS1_Pin;
  GPIO_InitStruct.Mode = GPIO_MODE_OUTPUT_OD;
  GPIO_InitStruct.Pull = GPIO_PULLUP;
  GPIO_InitStruct.Speed = GPIO_SPEED_FREQ_VERY_HIGH;
  HAL_GPIO_Init(TempDS1_GPIO_Port, &GPIO_InitStruct);

  /*Configure GPIO pins : IMD_OK_Pin CONTACTOR_IN_Pin BMS_OK_Pin */
  GPIO_InitStruct.Pin = IMD_OK_Pin|CONTACTOR_IN_Pin|BMS_OK_Pin;
  GPIO_InitStruct.Mode = GPIO_MODE_IT_RISING_FALLING;
  GPIO_InitStruct.Pull = GPIO_PULLDOWN;
  HAL_GPIO_Init(GPIOB, &GPIO_InitStruct);

  /*Configure GPIO pin : Contactor_out_Pin */
  GPIO_InitStruct.Pin = Contactor_out_Pin;
  GPIO_InitStruct.Mode = GPIO_MODE_OUTPUT_PP;
  GPIO_InitStruct.Pull = GPIO_PULLDOWN;
  GPIO_InitStruct.Speed = GPIO_SPEED_FREQ_LOW;
  HAL_GPIO_Init(Contactor_out_GPIO_Port, &GPIO_InitStruct);

  /* EXTI interrupt init*/
  HAL_NVIC_SetPriority(EXTI15_10_IRQn, 1, 0);
  HAL_NVIC_EnableIRQ(EXTI15_10_IRQn);

}

/* USER CODE BEGIN 4 */
void HAL_TIM_PeriodElapsedCallback(TIM_HandleTypeDef *htim)
{
	//char buffer[30] = {0};
    if (htim->Instance==TIM11) //check if the interrupt comes from TIM11
        {
        flag_TIM11++;
        HAL_IWDG_Refresh(&hiwdg);
        __HAL_TIM_SET_COUNTER(&htim11, 0);
        switch (flag_TIM11)
        {
        case 1:
        	if(!flag_error.MPU6050){
        		MPU6050_Read_All(&hi2c1, &MPU6050);
        		HAL_IWDG_Refresh(&hiwdg);
        		break;
        	}
        	else
        	{
        		flag_TIM11++; //NO PONER BREAK PARA SALTAR
        	}

        case 2: read_AllTemp (); HAL_IWDG_Refresh(&hiwdg); break; // sprintf(buffer, "Case 2: %lu\n\r",__HAL_TIM_GET_COUNTER(&htim11)); HAL_UART_Transmit(&huart2, buffer, strlen(buffer), 1);break;

        case 3: read_ADC1 (); HAL_IWDG_Refresh(&hiwdg); break; // sprintf(buffer, "Case 4: %lu\n\r",__HAL_TIM_GET_COUNTER(&htim11)); HAL_UART_Transmit(&huart2, buffer, strlen(buffer), 1); break;

        default:
        	if(flag_app)
        		info_app_transmit();
        	flag_TIM11 = 0;
        	HAL_IWDG_Refresh(&hiwdg);
        	break;	//SI NO HAY APP, HAY UNOS MILISEGUNDOS SIN USAR
        }
        }
}

void HAL_TIM_IC_CaptureCallback(TIM_HandleTypeDef *htim)
{
	if ((htim->Instance==TIM2) & (htim->Channel == HAL_TIM_ACTIVE_CHANNEL_1))
		IMD.ICValue = HAL_TIM_ReadCapturedValue(htim, TIM_CHANNEL_1);
	if (IMD.ICValue !=0)
	{
		IMD.Duty = (HAL_TIM_ReadCapturedValue(htim, TIM_CHANNEL_2) * 100.0) / IMD.ICValue;
		IMD.Frequency = 100000000 / IMD.ICValue;
	}

	if ((IMD.Frequency<12) && (IMD.Frequency>8))
		IMD.Rf = ((90*1200)/(IMD.Duty-5))-1200;

	else if ((IMD.Frequency<33) && (IMD.Frequency>27))
	{
		if (!((IMD.Duty<11) && (IMD.Duty>4)))
				flag_error.IMD = 1;
	}

	else	flag_error.IMD = 1;

	//Si va muy rápido, cambiar  --> sConfigIC.ICPrescaler = TIM_ICPSC_DIV1 -->8;
}

void HAL_UART_RxCpltCallback(UART_HandleTypeDef *huart)
{
	if (huart->Instance==USART2)
	{
		if (!strcmp ((char*) dataRx, "i"))
			info_user_transmit ();

		else if (!strcmp ((char*) dataRx, "r"))
			reset_flags ();

		else if (!strcmp ((char*) dataRx, "P"))
			flag_app = 1;

		else
		{
			HAL_UART_Transmit(&huart2, dataRx, 8, 1);
			HAL_UART_Transmit(&huart2, (uint8_t *) " --> Comando no reconocido\r\n", strlen ((char *) " --> Comando no reconocido\r\n"), 5);
		}
	}

	else if (huart->Instance==USART1)
	{
		if (!strcmp ((char*) dataRx, "P"))
			flag_app = 1;

		else if (!strcmp ((char*) dataRx, "C"))
			flag_app = 0;

		else
		{
			HAL_UART_Transmit(&huart1, dataRx, 8, 1);
			HAL_UART_Transmit(&huart1, (uint8_t *) " --> Comando no reconocido\r\n", strlen ((char *) " --> Comando no reconocido\r\n"), 5);
		}
	}
}

void HAL_GPIO_EXTI_Callback(uint16_t GPIO_Pin)
{
	if (GPIO_Pin == IMD_OK_Pin) {
		if (HAL_GPIO_ReadPin(IMD_OK_GPIO_Port, IMD_OK_Pin) == GPIO_PIN_RESET)
		{
			HAL_GPIO_WritePin(Contactor_out_GPIO_Port, Contactor_out_Pin, GPIO_PIN_RESET);
			flag_error.IMD = 1;
			while(1){}
		}
	}

	else if (GPIO_Pin == BMS_OK_Pin) {
		if (HAL_GPIO_ReadPin(BMS_OK_GPIO_Port, BMS_OK_Pin) == GPIO_PIN_RESET)
		{
			flag_error.BMS = 1;
		}
	}

	else if (GPIO_Pin == CONTACTOR_IN_Pin) {
		if (HAL_GPIO_ReadPin(CONTACTOR_IN_GPIO_Port, CONTACTOR_IN_Pin) == GPIO_PIN_RESET)
		{
			flag_error.Contactor = 1;
		}
	}

	else if (GPIO_Pin == B1_USER_Pin) {
		reset_flags();
	}

}

/* USER CODE END 4 */

void Error_Handler(void)
{
  __disable_irq();
  while (1)
  {
  }
}

#ifdef  USE_FULL_ASSERT
/**
  * @brief  Reports the name of the source file and the source line number
  *         where the assert_param error has occurred.
  * @param  file: pointer to the source file name
  * @param  line: assert_param error line source number
  * @retval None
  */
void assert_failed(uint8_t *file, uint32_t line)
{
  /* USER CODE BEGIN 6 */
	HAL_UART_Transmit(&huart2, (char *) "Fallo en parametros de la linea ", strlen ((char *) "Fallo en parametros de la linea "), 1);
	HAL_UART_Transmit(&huart2, (uint8_t *) line, strlen ((uint8_t *) line), 1);

	/* User can add his own implementation to report the file name and line number,
     ex: printf("Wrong parameters value: file %s on line %d\r\n", file, line) */
  /* USER CODE END 6 */
}
#endif /* USE_FULL_ASSERT */
